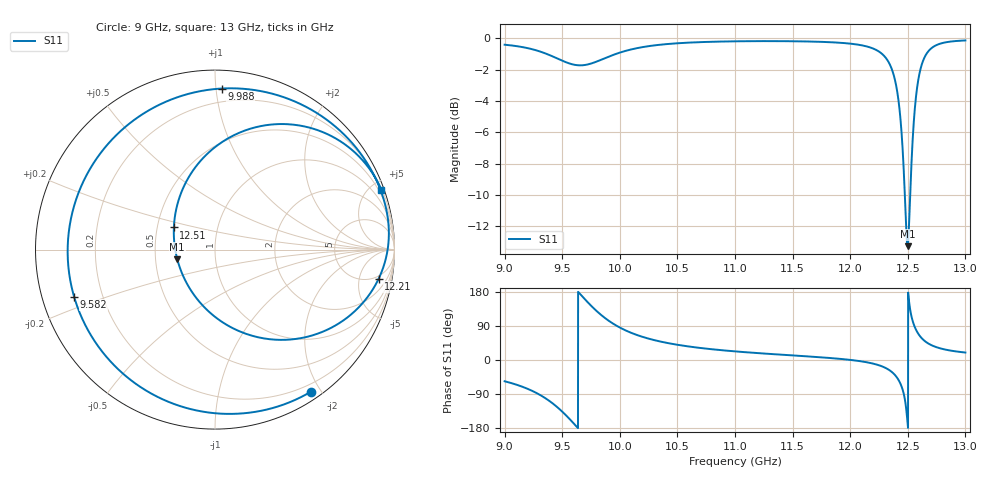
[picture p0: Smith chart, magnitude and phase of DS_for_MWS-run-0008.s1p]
! TOUCHSTONE file generated by CST DESIGN STUDIO
! Date and time: Tue Feb  4 16:38:44 2025
! Project name: C:\Work\MatlabApps\UnitCellOptimizationMatlab\CST\unitcell.cst
! Tree item: Tasks\Sweep1\SPara1\S-Parameters
! Header version: 2024
! Port assignment regex: !\s*Touchstone port\s*([0-9]+)\s*=\s*(CST MWS port|CST DES external port|CST DES block port)\s*(.+)\s* \(\"(.*)\"\)(\s*mode\s*([0-9]+))?.*
! Touchstone port assignment:
! Touchstone port 1 = CST DES external port 1 ("")
# GHz S MA R 50
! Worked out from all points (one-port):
!   4001 points, 9 GHz to 13 GHz, reference 50 ohm
!   lowest |S11| = -13.3 dB at 12.5 GHz (marker M1), VSWR 1.55, Z = 32.5 - j3.69 ohm
!   |S11| at or under -10 dB: 12.47422 GHz to 12.5207 GHz (46.48 MHz wide, 0.372 % of centre)
!   S11 on the Smith chart (normalised r, x): 9 GHz: 0.10, -1.87; 9.582 GHz: 0.10, -0.16; 9.988 GHz: 0.11, +1.04; 12.21 GHz: 4, -9; 12.51 GHz: 0.61, +0.16; 13 GHz: 0.25, +5.74
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9  0.955 -56.1
9.162  0.9374 -71.5
9.313  0.907 -93.2
9.412  0.878 -113.3
9.5  0.8493 -136.2
9.582  0.8278 -161.5
9.682  0.8213 165.2
9.796  0.8428 130.0
9.885  0.8691 107.7
9.988  0.8981 87.7
10  0.9011 85.7
10.219  0.9412 59.1
10.5  0.9652 40.2
11  0.9792 22.8
11.5  0.9797 12.1
12  0.9626 0.3
12.207  0.9259 -10.1
12.34  0.8316 -26.7
12.424  0.6132 -55.0
12.462  0.3982 -85.6
12.498  0.2169 -165.6
12.5  0.218 -172.3
12.512  0.2603 151.7
12.556  0.5664 90.6
12.603  0.7776 64.0
12.66  0.8903 47.1
12.734  0.9463 35.4
13  0.9854 19.7
